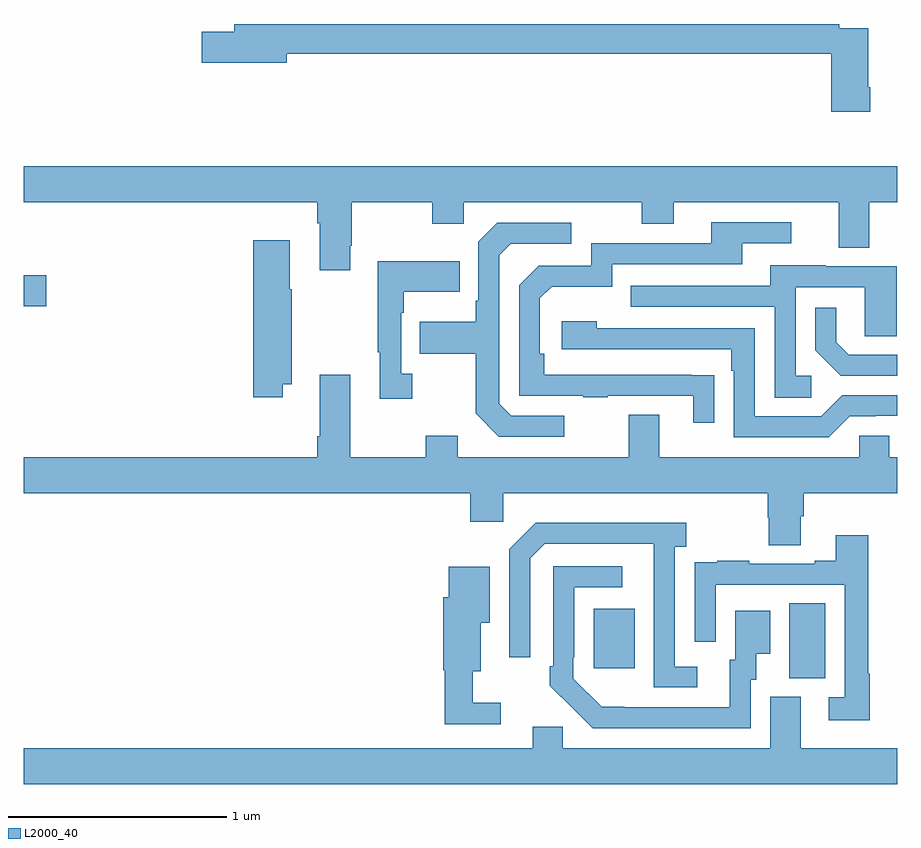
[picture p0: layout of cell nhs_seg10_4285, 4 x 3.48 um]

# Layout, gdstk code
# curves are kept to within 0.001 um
import gdstk
lib = gdstk.Library(unit=1e-6, precision=1e-09)
def R(c, l, rs):  # rectangles x0, y0, x1, y1
    for r in rs: c.add(gdstk.rectangle(r[:2], r[2:], *l))
def P(c, l, *ps):  # polygons
    for p in ps: c.add(gdstk.Polygon(p, *l))
L2000_40 = (2000, 40)

nhs_seg10_4285 = lib.new_cell('nhs_seg10_4285')
R(nhs_seg10_4285, L2000_40, [(354.506,1275.493,354.67,1275.836), (353.609,1275.537,353.797,1275.811), (351,1277.195,351.103,1277.337)])
P(nhs_seg10_4285, L2000_40, [(354.876,1278.199),(354.868,1278.199),(354.868,1278.468),(354.734,1278.468),(354.734,1278.488),(351.965,1278.488),(351.965,1278.452),(351.816,1278.452),(351.816,1278.31),(352.204,1278.31),(352.204,1278.352),(354.698,1278.352),(354.698,1278.087),(354.876,1278.087)],
  [(352.495,1277.473),(352.503,1277.473),(352.503,1277.672),(352.87,1277.672),(352.87,1277.573),(353.016,1277.573),(353.016,1277.672),(353.83,1277.672),(353.83,1277.573),(353.977,1277.573),(353.977,1277.672),(354.731,1277.672),(354.731,1277.464),(354.871,1277.464),(354.871,1277.672),(355,1277.672),(355,1277.836),(351,1277.836),(351,1277.672),(352.343,1277.672),(352.343,1277.576),(352.355,1277.576),(352.355,1277.361),(352.495,1277.361)],
  [(354.161,1276.88),(353.384,1276.881),(353.384,1276.978),(353.364,1276.978),(353.364,1277.232),(353.417,1277.285),(353.694,1277.285),(353.694,1277.388),(354.289,1277.388),(354.289,1277.484),(354.514,1277.484),(354.514,1277.58),(354.149,1277.58),(354.149,1277.484),(353.598,1277.484),(353.598,1277.382),(353.358,1277.382),(353.268,1277.292),(353.268,1276.785),(353.563,1276.785),(353.563,1276.78),(353.675,1276.78),(353.675,1276.785),(354.065,1276.785),(354.065,1276.662),(354.161,1276.662)],
  [(353.476,1276.695),(353.232,1276.695),(353.178,1276.749),(353.178,1277.43),(353.229,1277.481),(353.506,1277.481),(353.506,1277.577),(353.169,1277.577),(353.082,1277.49),(353.082,1277.221),(353.07,1277.221),(353.07,1277.125),(352.813,1277.125),(352.813,1276.978),(353.07,1276.978),(353.07,1276.705),(353.175,1276.599),(353.476,1276.599)],
  [(352.186,1276.838),(352.227,1276.838),(352.227,1277.273),(352.219,1277.273),(352.219,1277.497),(352.052,1277.497),(352.052,1276.779),(352.186,1276.779)],
  [(352.78,1276.886),(352.728,1276.886),(352.728,1277.165),(352.741,1277.165),(352.741,1277.261),(352.997,1277.261),(352.997,1277.401),(352.62,1277.401),(352.62,1276.985),(352.631,1276.985),(352.631,1276.773),(352.78,1276.773)],
  [(354.607,1276.878),(354.534,1276.878),(354.534,1277.283),(354.852,1277.283),(354.852,1277.059),(354.997,1277.059),(354.997,1277.379),(354.673,1277.379),(354.673,1277.383),(354.419,1277.383),(354.419,1277.289),(353.779,1277.289),(353.779,1277.193),(354.438,1277.193),(354.438,1276.777),(354.607,1276.777)],
  [(355,1276.974),(354.778,1276.974),(354.721,1277.031),(354.721,1277.188),(354.624,1277.188),(354.624,1276.994),(354.74,1276.878),(355,1276.878)],
  [(354.783,1276.692),(354.902,1276.692),(354.902,1276.695),(355,1276.695),(355,1276.788),(354.747,1276.788),(354.651,1276.692),(354.348,1276.692),(354.348,1277.094),(353.624,1277.094),(353.624,1277.128),(353.463,1277.128),(353.463,1276.998),(354.239,1276.998),(354.239,1276.901),(354.252,1276.901),(354.252,1276.596),(354.687,1276.596)],
  [(354.559,1276.234),(354.572,1276.234),(354.572,1276.34),(355,1276.34),(355,1276.504),(354.963,1276.504),(354.963,1276.602),(354.825,1276.602),(354.825,1276.504),(353.911,1276.504),(353.911,1276.699),(353.771,1276.699),(353.771,1276.504),(352.987,1276.504),(352.987,1276.603),(352.84,1276.603),(352.84,1276.504),(352.495,1276.504),(352.495,1276.882),(352.355,1276.882),(352.355,1276.6),(352.343,1276.6),(352.343,1276.504),(351,1276.504),(351,1276.34),(353.045,1276.34),(353.045,1276.209),(353.196,1276.209),(353.196,1276.34),(354.407,1276.34),(354.407,1276.227),(354.412,1276.227),(354.412,1276.102),(354.559,1276.102)],
  [(354.085,1275.546),(353.982,1275.546),(353.982,1276.094),(354.034,1276.094),(354.034,1276.204),(353.344,1276.204),(353.223,1276.083),(353.223,1275.588),(353.319,1275.588),(353.319,1276.041),(353.385,1276.107),(353.885,1276.107),(353.886,1275.45),(354.085,1275.45)],
  [(354.875,1275.512),(354.868,1275.512),(354.868,1276.147),(354.719,1276.147),(354.719,1276.03),(354.623,1276.03),(354.623,1276.017),(354.323,1276.017),(354.323,1276.03),(354.175,1276.03),(354.175,1276.023),(354.073,1276.023),(354.073,1275.914),(354.072,1275.914),(354.072,1275.66),(354.168,1275.66),(354.168,1275.921),(354.759,1275.921),(354.759,1275.405),(354.687,1275.405),(354.687,1275.3),(354.875,1275.3)],
  [(354.33,1275.486),(354.355,1275.486),(354.355,1275.605),(354.418,1275.605),(354.418,1275.802),(354.257,1275.802),(354.257,1275.576),(354.233,1275.576),(354.233,1275.36),(353.646,1275.361),(353.517,1275.489),(353.517,1275.589),(353.52,1275.589),(353.52,1275.909),(353.74,1275.909),(353.74,1276.005),(353.424,1276.005),(353.424,1275.547),(353.409,1275.547),(353.409,1275.459),(353.606,1275.264),(354.33,1275.264)],
  [(353.185,1275.379),(353.056,1275.379),(353.056,1275.524),(353.092,1275.524),(353.092,1275.746),(353.134,1275.746),(353.134,1276.003),(352.946,1276.003),(352.946,1275.864),(352.922,1275.864),(352.922,1275.528),(352.927,1275.528),(352.927,1275.282),(353.185,1275.282)],
  [(353.33,1275.27),(353.33,1275.172),(351,1275.172),(351,1275.008),(355,1275.008),(355,1275.172),(354.559,1275.172),(354.559,1275.408),(354.419,1275.408),(354.419,1275.172),(353.469,1275.172),(353.469,1275.27)])

lib.write_gds('nhs_seg10_4285.gds')
